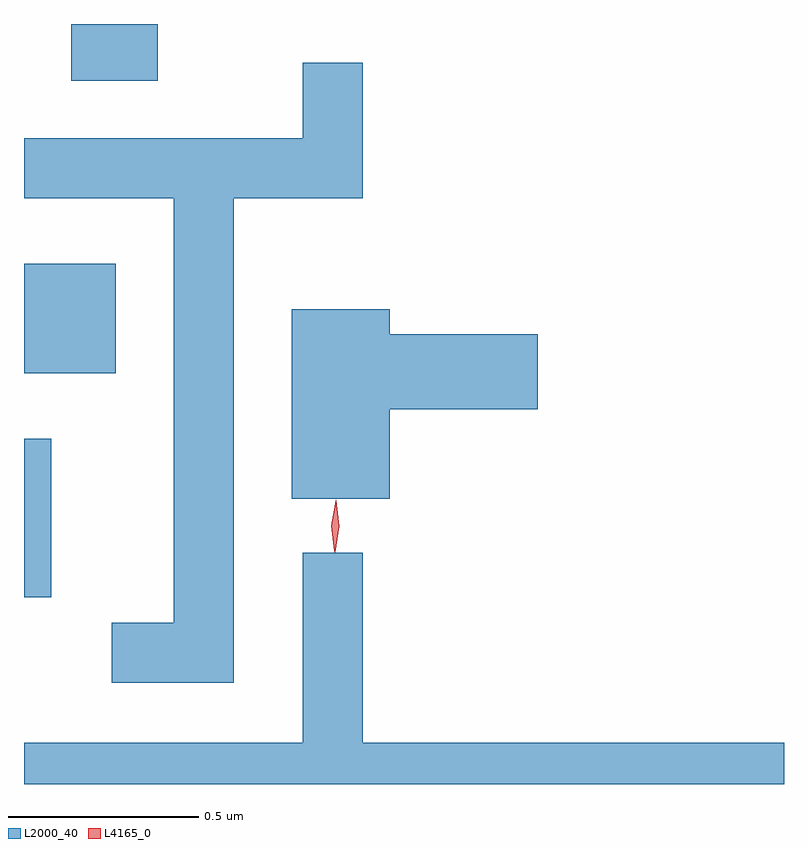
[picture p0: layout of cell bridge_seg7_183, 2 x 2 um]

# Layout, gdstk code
import gdstk
lib = gdstk.Library(unit=1e-6, precision=1e-09)
def R(c, l, rs):  # rectangles x0, y0, x1, y1
    for r in rs: c.add(gdstk.rectangle(r[:2], r[2:], *l))
def P(c, l, *ps):  # polygons
    for p in ps: c.add(gdstk.Polygon(p, *l))
L2000_40 = (2000, 40)
L4165_0 = (4165, 0)

bridge_seg7_183 = lib.new_cell('bridge_seg7_183')
R(bridge_seg7_183, L2000_40, [(1569.112,1688.326,1569.184,1688.743), (1569.112,1688.916,1569.354,1689.204), (1569.236,1689.686,1569.464,1689.835)])
P(bridge_seg7_183, L2000_40, [(1569.664,1689.376),(1570.004,1689.376),(1570.004,1689.733),(1569.846,1689.733),(1569.846,1689.534),(1569.112,1689.534),(1569.112,1689.376),(1569.506,1689.376),(1569.506,1688.259),(1569.343,1688.259),(1569.343,1688.101),(1569.664,1688.101)],
  [(1570.074,1688.821),(1570.464,1688.821),(1570.464,1689.019),(1570.074,1689.019),(1570.074,1689.084),(1569.816,1689.084),(1569.816,1688.586),(1570.074,1688.586)],
  [(1571.112,1687.944),(1570.004,1687.944),(1570.004,1688.443),(1569.846,1688.443),(1569.846,1687.944),(1569.112,1687.944),(1569.112,1687.835),(1571.112,1687.835)])
P(bridge_seg7_183, L4165_0, [(1569.93,1688.445),(1569.922,1688.514),(1569.933,1688.582),(1569.933,1688.582),(1569.934,1688.582),(1569.942,1688.513),(1569.931,1688.445),(1569.931,1688.445)],
  [(1569.928,1688.448),(1569.928,1688.449),(1569.921,1688.514),(1569.933,1688.579),(1569.934,1688.579),(1569.934,1688.579),(1569.941,1688.513),(1569.929,1688.449)])

lib.write_gds('bridge_seg7_183.gds')
